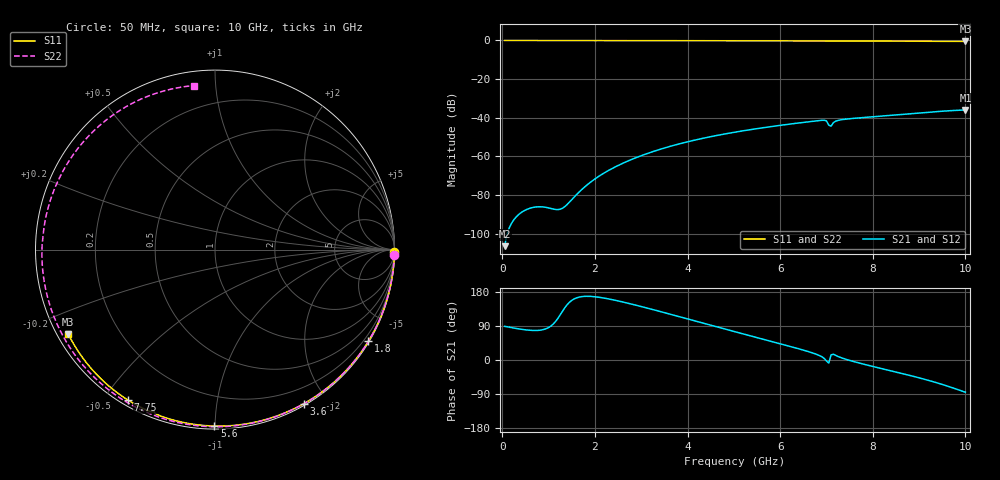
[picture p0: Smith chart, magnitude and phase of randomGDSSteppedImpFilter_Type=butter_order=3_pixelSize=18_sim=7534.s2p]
! freq	dB(S11)	phase(S11)	dB(S12)	phase(S12)
!  dB(S21)	phase(S21)	dB(S22)	phase(S22)
!S-par simulation data
#  GHz  S  DB  R 50
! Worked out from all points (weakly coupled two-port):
!   200 points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, 50 MHz to 10 GHz, reference 50 ohm
!   highest |S21| = -35.99 dB at 10 GHz (marker M1); lowest = -106.4 dB at 50 MHz (marker M2)
!   lowest |S11| = -0.5 dB at 10 GHz (marker M3), VSWR 34.22, Z = 1.57 - j13.4 ohm
!   |S11| at or under -10 dB: nowhere
!   |S22| runs from -0.7 to 0.0 dB; largest |S21 - S12| = 0
!   S11 on the Smith chart (normalised r, x): 50 MHz: open; 1.8 GHz: 0.03, -3.62; 3.6 GHz: 0.02, -1.73; 5.6 GHz: 0.02, -1.00; 7.75 GHz: 0.02, -0.58; 10 GHz: 0.03, -0.27
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0.05  -0.00 -0.9  -106.44 88.8  -106.44 88.8  -0.00 -1.6
0.75  -0.02 -13.0  -86.10 78.0  -86.10 78.0  -0.03 -23.4
1.55  -0.03 -26.6  -81.09 161.0  -81.09 161.0  -0.06 -47.6
1.6  -0.03 -27.5  -79.84 163.8  -79.84 163.8  -0.06 -49.1
1.75  -0.04 -30.0  -76.39 167.7  -76.39 167.7  -0.07 -53.4
1.8  -0.04 -30.9  -75.35 168.1  -75.35 168.1  -0.07 -54.9
2.45  -0.05 -41.7  -65.29 157.3  -65.29 157.3  -0.09 -73.3
3.4  -0.08 -57.0  -56.38 128.3  -56.38 128.3  -0.12 -98.6
3.6  -0.08 -60.1  -54.95 121.7  -54.95 121.7  -0.13 -103.6
4.3  -0.10 -71.0  -50.78 98.5  -50.78 98.5  -0.16 -120.9
5.05  -0.13 -82.2  -47.34 73.8  -47.34 73.8  -0.20 -138.6
5.6  -0.15 -90.2  -45.26 56.0  -45.26 56.0  -0.23 -151.3
6.7  -0.21 -105.8  -41.85 18.6  -41.85 18.6  -0.30 -176.7
7  -0.26 -110.2  -41.59 -2.6  -41.59 -2.6  -0.34 176.3
7.05  -0.32 -110.7  -43.81 -8.2  -43.81 -8.2  -0.34 175.2
7.1  -0.29 -110.9  -44.33 13.7  -44.33 13.7  -0.35 174.0
7.15  -0.26 -111.6  -42.50 15.1  -42.50 15.1  -0.35 172.8
7.25  -0.25 -113.1  -41.37 9.2  -41.37 9.2  -0.35 170.5
7.75  -0.28 -120.0  -39.97 -9.4  -39.97 -9.4  -0.39 158.4
8.35  -0.33 -128.0  -38.86 -27.4  -38.86 -27.4  -0.45 143.3
9.25  -0.42 -140.0  -37.08 -55.4  -37.08 -55.4  -0.57 119.1
10  -0.51 -150.1  -35.99 -85.1  -35.99 -85.1  -0.71 97.5
